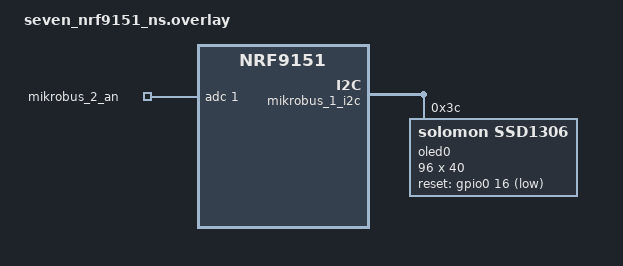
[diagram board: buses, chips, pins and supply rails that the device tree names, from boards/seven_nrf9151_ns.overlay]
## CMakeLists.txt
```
# Copyright (c) 2026 ID8 Engineering AB
# SPDX-License-Identifier: Apache-2.0

cmake_minimum_required(VERSION 3.20.0)

find_package(Zephyr REQUIRED HINTS $ENV{ZEPHYR_BASE})

project(app LANGUAGES C)

target_sources(app PRIVATE
  src/main.c
)
```

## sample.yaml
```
sample:
  name: Alcometer
tests:
  sample.alcometer:
    build_only: true
    platform_allow:
      - seven/nrf9151/ns
    integration_platforms:
      - seven/nrf9151/ns
    tags:
      - adc
      - display
      - i2c
      - led
      - pwm
```

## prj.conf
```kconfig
# Logging
CONFIG_LOG=y
CONFIG_HEAP_MEM_POOL_SIZE=16384

# ADC
CONFIG_ADC=y
# PWM
CONFIG_PWM=y

# Display
CONFIG_I2C=y
CONFIG_DISPLAY=y
CONFIG_CHARACTER_FRAMEBUFFER=y
CONFIG_CHARACTER_FRAMEBUFFER_USE_DEFAULT_FONTS=y
CONFIG_SSD1306=y

# LED
CONFIG_LED_STRIP=y
CONFIG_WS2812_STRIP_SPI=y
```

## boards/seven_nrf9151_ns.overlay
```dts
/*
 * SPDX-FileCopyrightText: 2026 ID8 Engineering AB
 *
 * SPDX-License-Identifier: Apache-2.0
 */

/ {
	chosen {
		zephyr,display = &oled0;
	};

	zephyr,user {
		io-channels = <&adc 1>;
		io-channel-names = "mikrobus_2_an";
	};
};

&mikrobus_1_i2c {
	status = "okay";
	zephyr,concat-buf-size = <512>;
	zephyr,flash-buf-max-size = <512>;

	oled0: oled@3c {
		compatible = "solomon,ssd1306";
		reg = <0x3c>;
		width = <96>;
		height = <40>;
		segment-offset = <32>;
		page-offset = <0>;
		display-offset = <0>;
		multiplex-ratio = <39>;
		segment-remap;
		com-invdir;
		prechargep = <0x25>;
		ready-time-ms = <250>;
		reset-gpios = <&gpio0 16 GPIO_ACTIVE_LOW>;
	};
};
```

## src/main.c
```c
// Copyright (c) 2026 ID8 Engineering AB
// SPDX-License-Identifier: Apache-2.0

#include <errno.h>

#include <zephyr/kernel.h>
#include <zephyr/logging/log.h>
#include <zephyr/drivers/adc.h>
#include <zephyr/drivers/led_strip.h>
#include <zephyr/drivers/pwm.h>
#include <zephyr/device.h>
#include <zephyr/display/cfb.h>
#include <zephyr/drivers/display.h>

LOG_MODULE_REGISTER(main, LOG_LEVEL_INF);

#define ADC_NODE            DT_PATH(zephyr_user)
#define PPM_THRESHOLD       100U
#define MQ3_MV_TO_PPM_SCALE 0.03846f
#define LED_ON              50U
#define LED_OFF             0U
#define BUZZER_FREQ_HZ      2000U
#define NS_PER_SEC          1000000000U
#define BUZZER_PERIOD_NS    (NS_PER_SEC / BUZZER_FREQ_HZ)
#define BUZZER_PULSE_NS     (BUZZER_PERIOD_NS / 2U)

static const struct adc_dt_spec mikrobus_2_an = ADC_DT_SPEC_GET_BY_NAME(ADC_NODE, mikrobus_2_an);
static const struct device *const oled = DEVICE_DT_GET(DT_CHOSEN(zephyr_display));
static const struct device *led_strip = DEVICE_DT_GET(DT_CHOSEN(zephyr_led_strip));
static const struct pwm_dt_spec buzzer = PWM_DT_SPEC_GET(DT_NODELABEL(buzzer));

static int init_adc(struct adc_sequence *sequence, uint16_t *raw)
{
	if (!adc_is_ready_dt(&mikrobus_2_an)) {
		LOG_ERR("ADC device is not ready");
		return -ENODEV;
	}

	sequence->buffer = raw;
	sequence->buffer_size = sizeof(*raw);

	if (adc_channel_setup_dt(&mikrobus_2_an) != 0) {
		LOG_ERR("Could not setup ADC channel");
		return -EIO;
	}

	if (adc_sequence_init_dt(&mikrobus_2_an, sequence) != 0) {
		LOG_ERR("Could not init ADC sequence");
		return -EIO;
	}

	return 0;
}

static int init_oled(void)
{
	if (!device_is_ready(oled)) {
		LOG_ERR("OLED device is not ready");
		return -ENODEV;
	}

	if (display_set_pixel_format(oled, PIXEL_FORMAT_MONO10) != 0 &&
	    display_set_pixel_format(oled, PIXEL_FORMAT_MONO01) != 0) {
		LOG_ERR("Could not set OLED pixel format");
		return -ENOTSUP;
	}

	if (cfb_framebuffer_init(oled) != 0) {
		LOG_ERR("Could not init OLED framebuffer");
		return -EIO;
	}

	if (cfb_framebuffer_invert(oled) != 0) {
		LOG_ERR("Could not invert OLED framebuffer");
		return -EIO;
	}

	if (display_blanking_off(oled) != 0) {
		LOG_ERR("Could not unblank OLED");
		return -EIO;
	}

	return 0;
}

static int read_adc(const struct adc_sequence *sequence, uint16_t *raw, int32_t *mv)
{
	*raw = 0;

	if (adc_read_dt(&mikrobus_2_an, sequence) != 0) {
		LOG_ERR("Could not read ADC");
		return -EIO;
	}

	*mv = *raw;
	if (adc_raw_to_millivolts_dt(&mikrobus_2_an, mv) != 0) {
		LOG_ERR("Could not convert ADC to mV");
		return -EIO;
	}

	return 0;
}

static int display_value(uint32_t ppm)
{
	char text[16];
	uint8_t font_w;
	uint8_t font_h;
	int width;
	int height;
	int len;

	width = cfb_get_display_parameter(oled, CFB_DISPLAY_WIDTH);
	height = cfb_get_display_parameter(oled, CFB_DISPLAY_HEIGHT);
	if (width <= 0 || height <= 0) {
		LOG_ERR("Could not get OLED size");
		return -EIO;
	}

	if (cfb_get_font_size(oled, 0, &font_w, &font_h) != 0) {
		LOG_ERR("Could not get OLED font size");
		return -EIO;
	}

	len = snprintk(text, sizeof(text), "PPM: %u", ppm);
	if (len < 0) {
		LOG_ERR("Could not format OLED text");
		return -EIO;
	}

	if (cfb_framebuffer_clear(oled, false) != 0) {
		LOG_ERR("Could not clear OLED framebuffer");
		return -EIO;
	}

	if (cfb_print(oled, text, (uint16_t)((width - (len * font_w)) / 2),
		      (uint16_t)((height - font_h) / 2)) != 0) {
		LOG_ERR("Could not print to OLED");
		return -EIO;
	}

	return cfb_framebuffer_finalize(oled);
}

int main(void)
{
	int ret;
	uint16_t raw = 0;
	int32_t mv;
	uint32_t ppm;
	struct adc_sequence sequence = {0};
	uint32_t pulse_ns = 0U;

	struct led_rgb pixel = {
		.r = LED_OFF,
		.g = LED_ON,
		.b = LED_OFF,
	};

	if (!device_is_ready(led_strip)) {
		LOG_ERR("LED strip device is not ready");
		return -ENODEV;
	}

	if (!pwm_is_ready_dt(&buzzer)) {
		LOG_ERR("Buzzer device is not ready");
		return -ENODEV;
	}

	ret = init_adc(&sequence, &raw);
	if (ret < 0) {
		LOG_ERR("init_adc failed: %d", ret);
		return 0;
	}

	ret = init_oled();
	if (ret < 0) {
		LOG_ERR("init_oled failed: %d", ret);
		return 0;
	}

	ret = led_strip_update_rgb(led_strip, &pixel, 1);
	if (ret < 0) {
		LOG_ERR("Initial LED update failed: %d", ret);
	}

	while (1) {
		ret = read_adc(&sequence, &raw, &mv);
		if (ret < 0) {
			LOG_ERR("read_adc failed: %d", ret);
			k_sleep(K_SECONDS(1));
			continue;
		}

		ppm = (uint32_t)((float)mv * MQ3_MV_TO_PPM_SCALE + 0.5f);
		LOG_INF("ADC raw=%u mv=%d ppm=%u", raw, mv, ppm);

		if (PPM_THRESHOLD < ppm) {
			pulse_ns = (pulse_ns == 0U) ? BUZZER_PULSE_NS : 0U;
			ret = pwm_set_dt(&buzzer, BUZZER_PERIOD_NS, pulse_ns);
			if (ret < 0) {
				LOG_ERR("Buzzer update failed: %d", ret);
			}

			pixel.r = (pixel.r == LED_OFF) ? LED_ON : LED_OFF;
			pixel.g = LED_OFF;
			ret = led_strip_update_rgb(led_strip, &pixel, 1);
			if (ret < 0) {
				LOG_ERR("LED update failed: %d", ret);
			}
		} else {
			pulse_ns = 0U;
			ret = pwm_set_dt(&buzzer, BUZZER_PERIOD_NS, 0U);
			if (ret < 0) {
				LOG_ERR("Buzzer update failed: %d", ret);
			}
			pixel.r = LED_OFF;
			pixel.g = LED_ON;
			ret = led_strip_update_rgb(led_strip, &pixel, 1);
			if (ret < 0) {
				LOG_ERR("LED update failed: %d", ret);
			}
		}

		ret = display_value(ppm);
		if (ret < 0) {
			LOG_ERR("OLED update failed: %d", ret);
		}
		k_sleep(K_SECONDS(1));
	}

	return 0;
}
```
